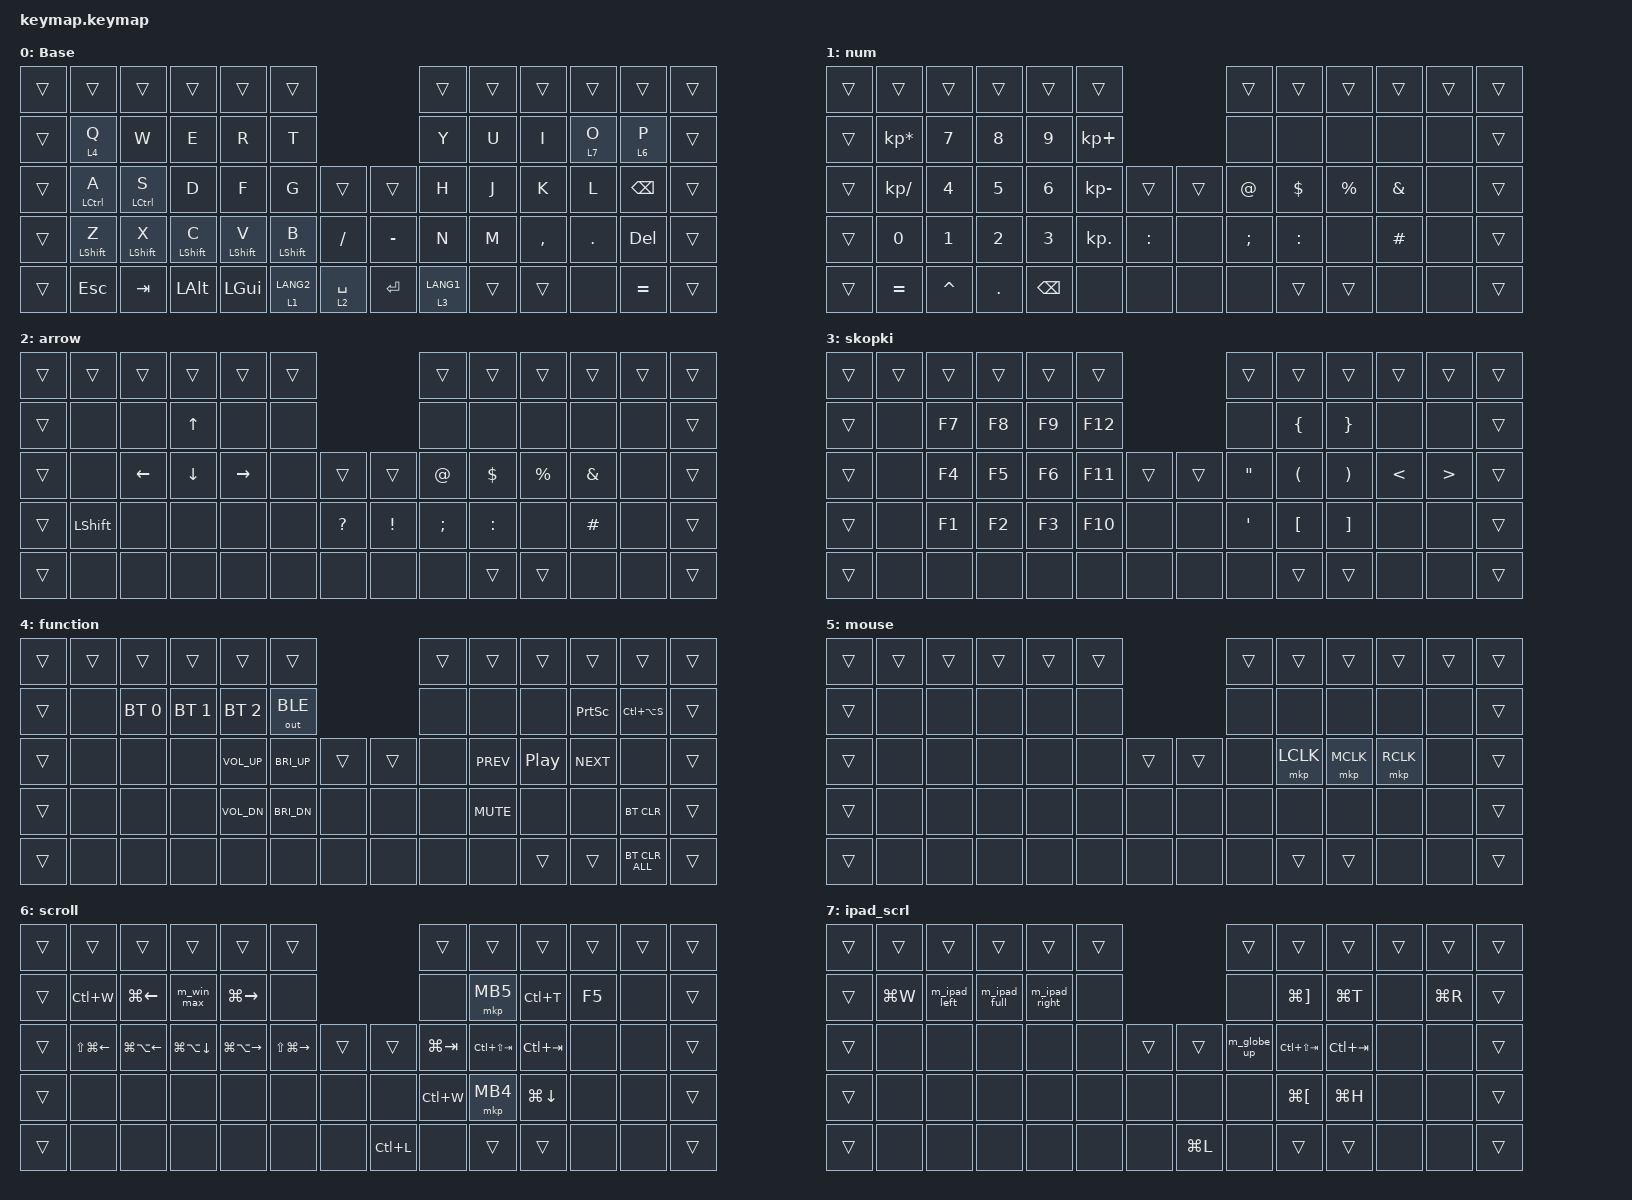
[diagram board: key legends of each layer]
// tsuki-keymap-bench: combo / hold-trigger positions use the S layout numbering

#ifndef KEYMAP_DRAWER

#include <input/processors.dtsi>

#endif

#include <behaviors.dtsi>
#include <dt-bindings/zmk/bt.h>
#include <dt-bindings/zmk/keys.h>
#include <dt-bindings/zmk/outputs.h>
#include <dt-bindings/zmk/pointing.h>

/ {
    behaviors {
        m_win_max: m_win_max {
            compatible = "zmk,behavior-macro";
            #binding-cells = <0>;
            wait-ms = <30>;
            tap-ms = <30>;
            bindings = <&macro_tap &kp LA(SPACE) &kp X>;
        };
        hml: homerow_mods_left {
            compatible = "zmk,behavior-hold-tap";
            display-name = "HRM 左手";
            #binding-cells = <2>;
            flavor = "tap-preferred";
            tapping-term-ms = <180>;
            quick-tap-ms = <135>;
            require-prior-idle-ms = <125>;
            hold-trigger-key-positions = <0 1 2 3 4 5 6 7 8 9 10 11 12 13 14 15 16 17 18 19 20 21 22 23 24 27 28 29 30 31 33 35 43>;
            hold-trigger-on-release;
            bindings = <&kp>, <&kp>;
        };

        /* iPadOS専用ショートカットマクロ */

        m_globe_up: m_globe_up {
            compatible = "zmk,behavior-macro";
            #binding-cells = <0>;
            bindings =
                <&macro_press>,
                <&kp GLOBE>,
                <&macro_tap>,
                <&kp UP>,
                <&macro_release>,
                <&kp GLOBE>;
        };

        m_ipad_full: m_ipad_full {
            compatible = "zmk,behavior-macro";
            #binding-cells = <0>;
            bindings =
                <&macro_press>,
                <&kp GLOBE>,
                <&macro_tap>,
                <&kp F>,
                <&macro_release>,
                <&kp GLOBE>;
        };

        m_ipad_left: m_ipad_left {
            compatible = "zmk,behavior-macro";
            #binding-cells = <0>;
            bindings =
                <&macro_press>,
                <&kp GLOBE>,
                <&macro_press>,
                <&kp LCTRL>,
                <&macro_tap>,
                <&kp LEFT>,
                <&macro_release>,
                <&kp LCTRL>,
                <&macro_release>,
                <&kp GLOBE>;
        };

        m_ipad_right: m_ipad_right {
            compatible = "zmk,behavior-macro";
            #binding-cells = <0>;
            bindings =
                <&macro_press>,
                <&kp GLOBE>,
                <&macro_press>,
                <&kp LCTRL>,
                <&macro_tap>,
                <&kp RIGHT>,
                <&macro_release>,
                <&kp LCTRL>,
                <&macro_release>,
                <&kp GLOBE>;
        };
    };

    macros {
    };

    combos {
        compatible = "zmk,combos";

        combo_1 {
            timeout-ms = <40>;
            key-positions = <13 14>;
            bindings = <&kp ESC>;
            layers = <0>;
        };

        combo_2 {
            timeout-ms = <40>;
            key-positions = <45 46>;
            bindings = <&kp LS(TILDE)>;
            layers = <0>;
        };

        tab {
            bindings = <&kp TAB>;
            key-positions = <28 27>;
            layers = <0>;
        };
    };

    keymap {
        compatible = "zmk,keymap";

        base_layer {
            display-name = "Base";
            bindings = <
&trans  &trans        &trans        &trans        &trans        &trans                                &trans       &trans  &trans     &trans   &trans     &trans
&trans  &lt 4 Q       &kp W         &kp E         &kp R         &kp T                                 &kp Y        &kp U   &kp I      &lt 7 O  &lt 6 P    &trans
&trans  &hml LCTRL A  &hml LCTRL S  &kp D         &kp F         &kp G         &trans       &trans     &kp H        &kp J   &kp K      &kp L    &kp BSPC   &trans
&trans  &hml LSHFT Z  &hml LSHFT X  &hml LSHFT C  &hml LSHFT V  &hml LSHFT B  &kp FSLH     &kp MINUS  &kp N        &kp M   &kp COMMA  &kp DOT  &kp DEL    &trans
&trans  &kp ESC       &kp TAB       &kp LEFT_ALT  &kp LGUI      &lt 1 LANG2   &lt 2 SPACE  &kp RET    &lt 3 LANG1  &trans  &trans     &none    &kp EQUAL  &trans
            >;
        };

        num {
            display-name = "num";
            bindings = <
&trans  &trans           &trans     &trans   &trans    &trans                           &trans    &trans     &trans     &trans    &trans  &trans
&trans  &kp KP_MULTIPLY  &kp N7     &kp N8   &kp N9    &kp KP_PLUS                      &none     &none      &none      &none     &none   &trans
&trans  &kp KP_DIVIDE    &kp N4     &kp N5   &kp N6    &kp KP_MINUS  &trans     &trans  &kp AT    &kp DLLR   &kp PRCNT  &kp AMPS  &none   &trans
&trans  &kp N0           &kp N1     &kp N2   &kp N3    &kp KP_DOT    &kp COLON  &none   &kp SEMI  &kp COLON  &none      &kp HASH  &none   &trans
&trans  &kp EQUAL        &kp CARET  &kp DOT  &kp BSPC  &none         &none      &none   &none     &trans     &trans     &none     &none   &trans
            >;
        };

        arrow {
            display-name = "arrow";
            bindings = <
&trans  &trans     &trans    &trans    &trans     &trans                          &trans         &trans      &trans       &trans         &trans  &trans
&trans  &none      &none     &kp UP    &none      &none                           &none          &none       &none        &none          &none   &trans
&trans  &none      &kp LEFT  &kp DOWN  &kp RIGHT  &none   &trans        &trans    &kp AT         &kp DOLLAR  &kp PERCENT  &kp AMPERSAND  &none   &trans
&trans  &kp LSHFT  &none     &none     &none      &none   &kp QUESTION  &kp EXCL  &kp SEMICOLON  &kp COLON   &none        &kp HASH       &none   &trans
&trans  &none      &none     &none     &none      &none   &none         &none     &none          &trans      &trans       &none          &none   &trans
            >;
        };

        skopki {
            display-name = "skopki";
            bindings = <
&trans  &trans  &trans  &trans  &trans  &trans                   &trans             &trans    &trans    &trans  &trans  &trans
&trans  &none   &kp F7  &kp F8  &kp F9  &kp F12                  &none              &kp LBRC  &kp RBRC  &none   &none   &trans
&trans  &none   &kp F4  &kp F5  &kp F6  &kp F11  &trans  &trans  &kp DOUBLE_QUOTES  &kp LPAR  &kp RPAR  &kp LT  &kp GT  &trans
&trans  &none   &kp F1  &kp F2  &kp F3  &kp F10  &none   &none   &kp SQT            &kp LBKT  &kp RBKT  &none   &none   &trans
&trans  &none   &none   &none   &none   &none    &none   &none   &none              &trans    &trans    &none   &none   &trans
            >;
        };

        function {
            display-name = "function";
            bindings = <
&trans  &trans  &trans        &trans        &trans        &trans                        &trans  &trans      &trans    &trans      &trans          &trans
&trans  &none   &bt BT_SEL 0  &bt BT_SEL 1  &bt BT_SEL 2  &out OUT_BLE                  &none   &none       &none     &kp PSCRN   &kp LC(LA(S))   &trans
&trans  &none   &none         &none         &kp C_VOL_UP  &kp C_BRI_UP  &trans  &trans  &none   &kp C_PREV  &kp C_PP  &kp C_NEXT  &none           &trans
&trans  &none   &none         &none         &kp C_VOL_DN  &kp C_BRI_DN  &none   &none   &none   &kp C_MUTE  &none     &none       &bt BT_CLR      &trans
&trans  &none   &none         &none         &none         &none         &none   &none   &none   &none       &trans    &trans      &bt BT_CLR_ALL  &trans
            >;
        };

        mouse {
            display-name = "mouse";
            bindings = <
&trans  &trans  &trans  &trans  &trans  &trans                  &trans  &trans     &trans     &trans     &trans  &trans
&trans  &none   &none   &none   &none   &none                   &none   &none      &none      &none      &none   &trans
&trans  &none   &none   &none   &none   &none   &trans  &trans  &none   &mkp LCLK  &mkp MCLK  &mkp RCLK  &none   &trans
&trans  &none   &none   &none   &none   &none   &none   &none   &none   &none      &none      &none      &none   &trans
&trans  &none   &none   &none   &none   &none   &none   &none   &none   &trans     &trans     &none      &none   &trans
            >;
        };

        /* Layer 6 : Windows用スクロール & ショートカット */

        scroll {
            display-name = "scroll";
            bindings = <
&trans  &trans            &trans            &trans            &trans             &trans                                &trans        &trans           &trans        &trans  &trans  &trans
&trans  &kp LC(W)         &kp LG(LEFT)      &m_win_max        &kp LG(RIGHT)      &none                                 &none         &mkp MB5         &kp LC(T)     &kp F5  &none   &trans
&trans  &kp LS(LG(LEFT))  &kp LG(LA(LEFT))  &kp LG(LA(DOWN))  &kp LG(LA(RIGHT))  &kp LS(LG(RIGHT))  &trans  &trans     &kp LG(TAB)   &kp LC(LS(TAB))  &kp LC(TAB)   &none   &none   &trans
&trans  &none             &none             &none             &none              &none              &none   &none      &kp LC(W)     &mkp MB4         &kp LG(DOWN)  &none   &none   &trans
&trans  &none             &none             &none             &none              &none              &none   &kp LC(L)  &none         &trans           &trans        &none   &none   &trans
            >;
        };

        /* Layer 7 : iPadOS用スクロール & ショートカット */

        ipad_scroll {
            display-name = "ipad_scrl";
            bindings = <
&trans  &trans     &trans        &trans        &trans         &trans                     &trans       &trans           &trans       &trans  &trans     &trans
&trans  &kp LG(W)  &m_ipad_left  &m_ipad_full  &m_ipad_right  &none                      &none        &kp LG(RBKT)     &kp LG(T)    &none   &kp LG(R)  &trans
&trans  &none      &none         &none         &none          &none   &trans  &trans     &m_globe_up  &kp LC(LS(TAB))  &kp LC(TAB)  &none   &none      &trans
&trans  &none      &none         &none         &none          &none   &none   &none      &none        &kp LG(LBKT)     &kp LG(H)    &none   &none      &trans
&trans  &none      &none         &none         &none          &none   &none   &kp LG(L)  &none        &trans           &trans       &none   &none      &trans
            >;
        };
    };
};
